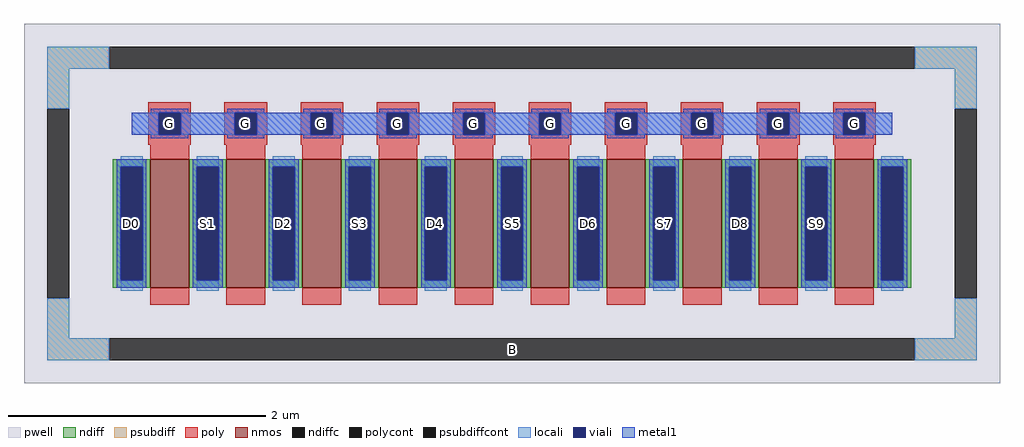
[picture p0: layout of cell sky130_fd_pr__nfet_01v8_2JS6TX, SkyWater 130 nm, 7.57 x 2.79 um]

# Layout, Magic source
magic
tech sky130A
magscale 1 2
<< pwell >>
rect -757 -279 757 279
<< nmos >>
rect -561 -131 -501 69
rect -443 -131 -383 69
rect -325 -131 -265 69
rect -207 -131 -147 69
rect -89 -131 -29 69
rect 29 -131 89 69
rect 147 -131 207 69
rect 265 -131 325 69
rect 383 -131 443 69
rect 501 -131 561 69
<< ndiff >>
rect -619 57 -561 69
rect -619 -119 -607 57
rect -573 -119 -561 57
rect -619 -131 -561 -119
rect -501 57 -443 69
rect -501 -119 -489 57
rect -455 -119 -443 57
rect -501 -131 -443 -119
rect -383 57 -325 69
rect -383 -119 -371 57
rect -337 -119 -325 57
rect -383 -131 -325 -119
rect -265 57 -207 69
rect -265 -119 -253 57
rect -219 -119 -207 57
rect -265 -131 -207 -119
rect -147 57 -89 69
rect -147 -119 -135 57
rect -101 -119 -89 57
rect -147 -131 -89 -119
rect -29 57 29 69
rect -29 -119 -17 57
rect 17 -119 29 57
rect -29 -131 29 -119
rect 89 57 147 69
rect 89 -119 101 57
rect 135 -119 147 57
rect 89 -131 147 -119
rect 207 57 265 69
rect 207 -119 219 57
rect 253 -119 265 57
rect 207 -131 265 -119
rect 325 57 383 69
rect 325 -119 337 57
rect 371 -119 383 57
rect 325 -131 383 -119
rect 443 57 501 69
rect 443 -119 455 57
rect 489 -119 501 57
rect 443 -131 501 -119
rect 561 57 619 69
rect 561 -119 573 57
rect 607 -119 619 57
rect 561 -131 619 -119
<< ndiffc >>
rect -607 -119 -573 57
rect -489 -119 -455 57
rect -371 -119 -337 57
rect -253 -119 -219 57
rect -135 -119 -101 57
rect -17 -119 17 57
rect 101 -119 135 57
rect 219 -119 253 57
rect 337 -119 371 57
rect 455 -119 489 57
rect 573 -119 607 57
<< psubdiff >>
rect -721 209 -625 243
rect 625 209 721 243
rect -721 147 -687 209
rect 687 147 721 209
rect -721 -209 -687 -147
rect 687 -209 721 -147
rect -721 -243 -625 -209
rect 625 -243 721 -209
<< psubdiffcont >>
rect -625 209 625 243
rect -721 -147 -687 147
rect 687 -147 721 147
rect -625 -243 625 -209
<< poly >>
rect -564 141 -498 157
rect -564 107 -548 141
rect -514 107 -498 141
rect -564 91 -498 107
rect -446 141 -380 157
rect -446 107 -430 141
rect -396 107 -380 141
rect -446 91 -380 107
rect -328 141 -262 157
rect -328 107 -312 141
rect -278 107 -262 141
rect -328 91 -262 107
rect -210 141 -144 157
rect -210 107 -194 141
rect -160 107 -144 141
rect -210 91 -144 107
rect -92 141 -26 157
rect -92 107 -76 141
rect -42 107 -26 141
rect -92 91 -26 107
rect 26 141 92 157
rect 26 107 42 141
rect 76 107 92 141
rect 26 91 92 107
rect 144 141 210 157
rect 144 107 160 141
rect 194 107 210 141
rect 144 91 210 107
rect 262 141 328 157
rect 262 107 278 141
rect 312 107 328 141
rect 262 91 328 107
rect 380 141 446 157
rect 380 107 396 141
rect 430 107 446 141
rect 380 91 446 107
rect 498 141 564 157
rect 498 107 514 141
rect 548 107 564 141
rect 498 91 564 107
rect -561 69 -501 91
rect -443 69 -383 91
rect -325 69 -265 91
rect -207 69 -147 91
rect -89 69 -29 91
rect 29 69 89 91
rect 147 69 207 91
rect 265 69 325 91
rect 383 69 443 91
rect 501 69 561 91
rect -561 -157 -501 -131
rect -443 -157 -383 -131
rect -325 -157 -265 -131
rect -207 -157 -147 -131
rect -89 -157 -29 -131
rect 29 -157 89 -131
rect 147 -157 207 -131
rect 265 -157 325 -131
rect 383 -157 443 -131
rect 501 -157 561 -131
<< polycont >>
rect -548 107 -514 141
rect -430 107 -396 141
rect -312 107 -278 141
rect -194 107 -160 141
rect -76 107 -42 141
rect 42 107 76 141
rect 160 107 194 141
rect 278 107 312 141
rect 396 107 430 141
rect 514 107 548 141
<< locali >>
rect -721 209 -625 243
rect 625 209 721 243
rect -721 147 -687 209
rect 687 147 721 209
rect -590 107 -548 141
rect -514 107 -430 141
rect -396 107 -312 141
rect -278 107 -194 141
rect -160 107 -76 141
rect -42 107 42 141
rect 76 107 160 141
rect 194 107 278 141
rect 312 107 396 141
rect 430 107 514 141
rect 548 107 590 141
rect -607 57 -573 73
rect -607 -135 -573 -119
rect -489 57 -455 73
rect -489 -135 -455 -119
rect -371 57 -337 73
rect -371 -135 -337 -119
rect -253 57 -219 73
rect -253 -135 -219 -119
rect -135 57 -101 73
rect -135 -135 -101 -119
rect -17 57 17 73
rect -17 -135 17 -119
rect 101 57 135 73
rect 101 -135 135 -119
rect 219 57 253 73
rect 219 -135 253 -119
rect 337 57 371 73
rect 337 -135 371 -119
rect 455 57 489 73
rect 455 -135 489 -119
rect 573 57 607 73
rect 573 -135 607 -119
rect -721 -209 -687 -147
rect 687 -209 721 -147
rect -721 -243 -625 -209
rect 625 -243 721 -209
<< viali >>
rect -548 107 -514 141
rect -430 107 -396 141
rect -312 107 -278 141
rect -194 107 -160 141
rect -76 107 -42 141
rect 42 107 76 141
rect 160 107 194 141
rect 278 107 312 141
rect 396 107 430 141
rect 514 107 548 141
rect -607 -119 -573 57
rect -489 -119 -455 57
rect -371 -119 -337 57
rect -253 -119 -219 57
rect -135 -119 -101 57
rect -17 -119 17 57
rect 101 -119 135 57
rect 219 -119 253 57
rect 337 -119 371 57
rect 455 -119 489 57
rect 573 -119 607 57
<< metal1 >>
rect -560 141 -502 147
rect -442 141 -384 147
rect -324 141 -266 147
rect -206 141 -148 147
rect -88 141 -30 147
rect 30 141 88 147
rect 148 141 206 147
rect 266 141 324 147
rect 384 141 442 147
rect 502 141 560 147
rect -590 107 -548 141
rect -514 107 -430 141
rect -396 107 -312 141
rect -278 107 -194 141
rect -160 107 -76 141
rect -42 107 42 141
rect 76 107 160 141
rect 194 107 278 141
rect 312 107 396 141
rect 430 107 514 141
rect 548 107 590 141
rect -560 101 -502 107
rect -442 101 -384 107
rect -324 101 -266 107
rect -206 101 -148 107
rect -88 101 -30 107
rect 30 101 88 107
rect 148 101 206 107
rect 266 101 324 107
rect 384 101 442 107
rect 502 101 560 107
rect -613 57 -567 69
rect -613 -119 -607 57
rect -573 -119 -567 57
rect -613 -131 -567 -119
rect -495 57 -449 69
rect -495 -119 -489 57
rect -455 -119 -449 57
rect -495 -131 -449 -119
rect -377 57 -331 69
rect -377 -119 -371 57
rect -337 -119 -331 57
rect -377 -131 -331 -119
rect -259 57 -213 69
rect -259 -119 -253 57
rect -219 -119 -213 57
rect -259 -131 -213 -119
rect -141 57 -95 69
rect -141 -119 -135 57
rect -101 -119 -95 57
rect -141 -131 -95 -119
rect -23 57 23 69
rect -23 -119 -17 57
rect 17 -119 23 57
rect -23 -131 23 -119
rect 95 57 141 69
rect 95 -119 101 57
rect 135 -119 141 57
rect 95 -131 141 -119
rect 213 57 259 69
rect 213 -119 219 57
rect 253 -119 259 57
rect 213 -131 259 -119
rect 331 57 377 69
rect 331 -119 337 57
rect 371 -119 377 57
rect 331 -131 377 -119
rect 449 57 495 69
rect 449 -119 455 57
rect 489 -119 495 57
rect 449 -131 495 -119
rect 567 57 613 69
rect 567 -119 573 57
rect 607 -119 613 57
rect 567 -131 613 -119
<< labels >>
rlabel psubdiffcont 0 -226 0 -226 0 B
port 1 nsew
rlabel ndiffc -590 -31 -590 -31 0 D0
port 2 nsew
rlabel polycont -531 124 -531 124 0 G
port 3 nsew
rlabel ndiffc -472 -31 -472 -31 0 S1
port 4 nsew
rlabel polycont -413 124 -413 124 0 G
port 3 nsew
rlabel ndiffc -354 -31 -354 -31 0 D2
port 5 nsew
rlabel polycont -295 124 -295 124 0 G
port 3 nsew
rlabel ndiffc -236 -31 -236 -31 0 S3
port 6 nsew
rlabel polycont -177 124 -177 124 0 G
port 3 nsew
rlabel ndiffc -118 -31 -118 -31 0 D4
port 7 nsew
rlabel polycont -59 124 -59 124 0 G
port 3 nsew
rlabel ndiffc 0 -31 0 -31 0 S5
port 8 nsew
rlabel polycont 59 124 59 124 0 G
port 3 nsew
rlabel ndiffc 118 -31 118 -31 0 D6
port 9 nsew
rlabel polycont 177 124 177 124 0 G
port 3 nsew
rlabel ndiffc 236 -31 236 -31 0 S7
port 10 nsew
rlabel polycont 295 124 295 124 0 G
port 3 nsew
rlabel ndiffc 354 -31 354 -31 0 D8
port 11 nsew
rlabel polycont 413 124 413 124 0 G
port 3 nsew
rlabel ndiffc 472 -31 472 -31 0 S9
port 12 nsew
rlabel polycont 531 124 531 124 0 G
port 3 nsew
<< properties >>
string FIXED_BBOX -704 -226 704 226
string gencell sky130_fd_pr__nfet_01v8
string library sky130
string parameters w 1 l 0.3 m 1 nf 10 diffcov 100 polycov 100 guard 1 glc 1 grc 1 gtc 1 gbc 1 tbcov 100 rlcov 100 topc 1 botc 0 poverlap 0 doverlap 1 lmin 0.15 wmin 0.42 class mosfet compatible {sky130_fd_pr__nfet_01v8 sky130_fd_pr__nfet_01v8_lvt  sky130_fd_bs_flash__special_sonosfet_star  sky130_fd_pr__nfet_g5v0d10v5 sky130_fd_pr__nfet_05v0_nvt  sky130_fd_pr__nfet_03v3_nvt} full_metal 1 conn_gates 1 viasrc 100 viadrn 100 viagate 100 viagb 0 viagr 0 viagl 0 viagt 0 doports 1
<< end >>
